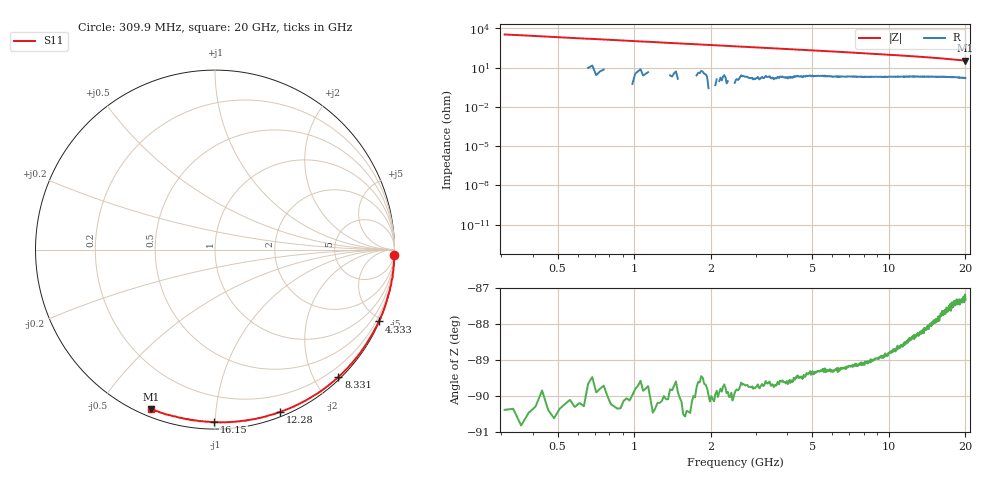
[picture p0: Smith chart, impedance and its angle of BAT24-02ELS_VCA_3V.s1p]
! Infineon Technologies  Discrete & RF Semiconductors
! BAT24-02ELS
! VCA = 3 V
! One-Port S-Parameters
# Hz  S  MA  R  50
!f  S11
!Hz  Mag  Ang
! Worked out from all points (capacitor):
!   789 points, 309.9 MHz to 20 GHz, reference 50 ohm
!   read as one part to ground: C = 152 fF near 384.8 MHz
!   lowest |Z| = 33.8 ohm at 20 GHz (marker M1)
!   S11 on the Smith chart (normalised r, x): 309.9 MHz: -0, -67; 4.333 GHz: 0.05, -4.77; 8.331 GHz: 0.04, -2.36; 12.28 GHz: 0.04, -1.48; 16.15 GHz: 0.04, -0.99; 20 GHz: 0.03, -0.67
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3.0985e8  1 -1.7
4.347875e8  0.9999 -2.4
1.584212e9  1.002 -8.6
1.734138e9  1 -9.6
2.383812e9  1 -13.1
2.783612e9  0.9986 -15.2
3.533238e9  0.9986 -19.3
4.332838e9  0.9962 -23.7
5.232388e9  0.9945 -28.6
6.4068e9  0.993 -35.1
7.70615e9  0.9894 -42.4
8.330838e9  0.988 -45.9
9.30535e9  0.9851 -51.4
1.015492e10  0.9824 -56.2
1.130435e10  0.9782 -62.7
1.227886e10  0.974 -68.2
1.262869e10  0.9727 -70.2
1.377811e10  0.9683 -76.8
1.437781e10  0.967 -80.1
1.507746e10  0.965 -84.1
1.552724e10  0.9637 -86.6
1.615192e10  0.9607 -90.3
1.702649e10  0.96 -95.1
1.755122e10  0.958 -98.0
1.825088e10  0.957 -102.0
1.905048e10  0.9575 -106.5
1.967516e10  0.9556 -110.0
2e10  0.9577 -111.9
